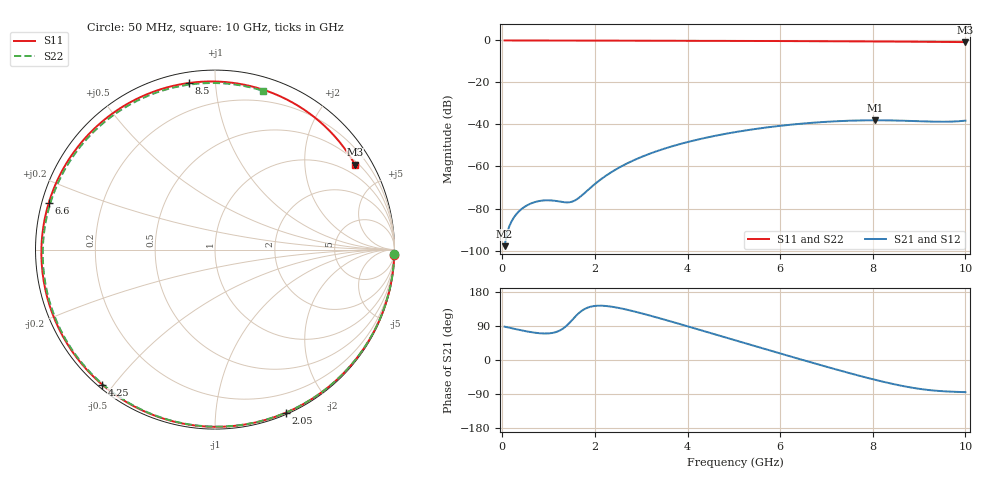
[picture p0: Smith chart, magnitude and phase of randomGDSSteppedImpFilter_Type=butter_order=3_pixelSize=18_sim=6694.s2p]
! freq	dB(S11)	phase(S11)	dB(S12)	phase(S12)
!  dB(S21)	phase(S21)	dB(S22)	phase(S22)
!S-par simulation data
#  GHz  S  DB  R 50
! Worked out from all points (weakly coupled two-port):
!   200 points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, 50 MHz to 10 GHz, reference 50 ohm
!   highest |S21| = -38.00 dB at 8.05 GHz (marker M1); lowest = -97.9 dB at 50 MHz (marker M2)
!   lowest |S11| = -0.8 dB at 10 GHz (marker M3), VSWR 21.83, Z = 30.8 + j174 ohm
!   |S11| at or under -10 dB: nowhere
!   |S22| runs from -0.7 to 0.0 dB; largest |S21 - S12| = 0
!   S11 on the Smith chart (normalised r, x): 50 MHz: 1, -67; 2.05 GHz: 0.02, -1.52; 4.25 GHz: 0.01, -0.47; 6.6 GHz: 0.02, +0.14; 8.5 GHz: 0.05, +0.86; 10 GHz: 0.62, +3.48
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0.05  -0.00 -1.7  -97.93 88.0  -97.93 88.0  -0.00 -1.4
0.4  -0.02 -13.4  -80.54 78.6  -80.54 78.6  -0.01 -10.9
0.65  -0.02 -21.7  -77.34 72.9  -77.34 72.9  -0.02 -17.7
0.9  -0.04 -30.0  -76.15 70.0  -76.15 70.0  -0.03 -24.5
1.45  -0.06 -47.7  -77.04 97.8  -77.04 97.8  -0.05 -39.2
1.75  -0.07 -57.2  -73.17 132.6  -73.17 132.6  -0.06 -47.1
2.05  -0.08 -66.5  -67.45 143.2  -67.45 143.2  -0.07 -54.9
2.65  -0.10 -84.6  -59.03 133.9  -59.03 133.9  -0.09 -70.3
3.4  -0.13 -106.2  -52.23 110.1  -52.23 110.1  -0.12 -89.1
4.25  -0.17 -129.8  -47.04 80.0  -47.04 80.0  -0.16 -110.1
5.05  -0.22 -151.7  -43.56 51.3  -43.56 51.3  -0.20 -129.8
5.85  -0.27 -173.9  -41.02 22.6  -41.02 22.6  -0.26 -149.9
6.6  -0.34 164.3  -39.35 -3.9  -39.35 -3.9  -0.32 -169.7
6.7  -0.34 161.3  -39.18 -7.4  -39.18 -7.4  -0.33 -172.4
7.35  -0.41 140.6  -38.33 -29.7  -38.33 -29.7  -0.40 169.0
8.05  -0.49 116.1  -38.00 -52.3  -38.00 -52.3  -0.48 147.2
8.35  -0.52 104.7  -38.05 -61.0  -38.05 -61.0  -0.51 137.1
8.5  -0.54 98.8  -38.12 -65.0  -38.12 -65.0  -0.53 131.8
8.9  -0.60 82.2  -38.39 -74.1  -38.39 -74.1  -0.58 117.3
9.25  -0.65 66.8  -38.64 -79.8  -38.64 -79.8  -0.61 103.9
9.6  -0.71 50.6  -38.69 -83.0  -38.69 -83.0  -0.65 89.9
10  -0.80 31.2  -38.19 -84.9  -38.19 -84.9  -0.68 73.2
